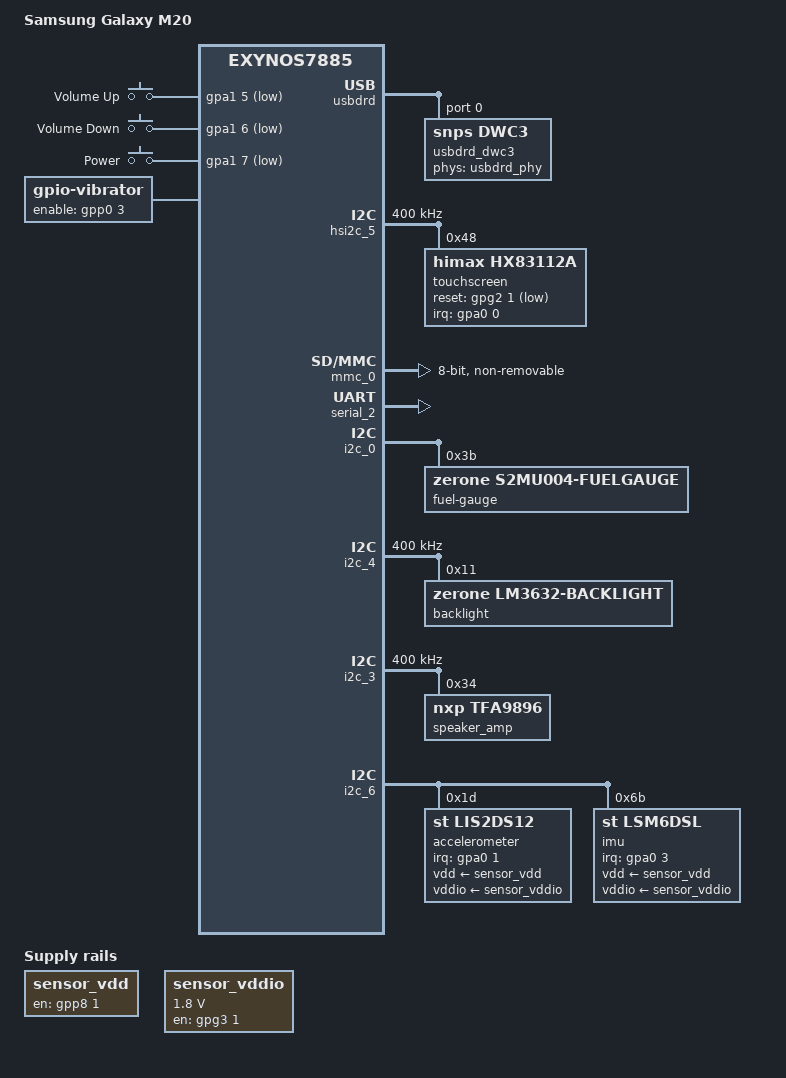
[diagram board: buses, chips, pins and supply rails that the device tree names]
// SPDX-License-Identifier: GPL-2.0
/*
 * Samsung Galaxy M20 (m20lte, SM-M205F/G/FN) device tree, for ztOS.
 *
 * The Exynos 7904 is the Exynos 7885 die (two A73 + six A53, Mali-G71 MP2),
 * so this builds on mainline's exynos7885.dtsi, the same base as the Galaxy
 * A8 2018 (exynos7885-jackpotlte.dts). Every address, pin and interrupt that
 * is not in mainline was taken from Samsung's own M20 kernel
 * (exynos7904-m20lte_common.dtsi, exynos7885.dtsi, display-lcd_m20_common.dtsi
 * in LineageOS/android_kernel_samsung_universal7904); each node says where.
 *
 * NOTHING HERE HAS RUN ON A PHONE YET. devices/m20lte/README.md lists what to
 * check first and in which order.
 *
 * Generated variants (memory size, fallback target) are made from this file
 * by devices/m20lte/kernel/make-dts.py; edit this file, not the output.
 */

/dts-v1/;
#include "exynos7885.dtsi"
#include <dt-bindings/gpio/gpio.h>
#include <dt-bindings/input/input.h>
#include <dt-bindings/interrupt-controller/irq.h>
#include <dt-bindings/soc/samsung,exynos-usi.h>
#include <dt-bindings/thermal/thermal.h>

/ {
	model = "Samsung Galaxy M20";
	compatible = "samsung,m20lte", "samsung,exynos7885";
	chassis-type = "handset";

	aliases {
		mmc0 = &mmc_0;
		serial2 = &serial_2;
	};

	/*
	 * The GPU's levels and voltages, this chip's own: the ECT in sboot
	 * (mmcblk0boot0 at 0x44400), ASV table 2 (the fused version, 20, has
	 * no table of its own: MINMAX_dvfs_g3d's row for it names table 2 and
	 * 343-845 MHz), GPU group 9 (the ASV fuses, read through EL3). The
	 * bootloader's 600 mV at 343 MHz is exactly this table's first level.
	 */
	gpu_opp_table: opp-table-gpu {
		compatible = "operating-points-v2";

		opp-343000000 {
			opp-hz = /bits/ 64 <343000000>;
			opp-microvolt = <600000>;
		};
		opp-450000000 {
			opp-hz = /bits/ 64 <450000000>;
			opp-microvolt = <612500>;
		};
		opp-545000000 {
			opp-hz = /bits/ 64 <545000000>;
			opp-microvolt = <650000>;
		};
		opp-676000000 {
			opp-hz = /bits/ 64 <676000000>;
			opp-microvolt = <681250>;
		};
		opp-845000000 {
			opp-hz = /bits/ 64 <845000000>;
			opp-microvolt = <762500>;
		};
	};

	chosen {
		#address-cells = <2>;
		#size-cells = <1>;
		ranges;

		/*
		 * The bootloader's framebuffer: sboot leaves the panel on and
		 * scanning this out, and uniLoader (board-m20lte.c) switches
		 * DECON to software trigger so writes reach the glass. simpledrm
		 * takes it over as /dev/dri/card0. 1080 x 2340, 4 bytes a pixel.
		 */
		framebuffer@ec000000 {
			compatible = "simple-framebuffer";
			reg = <0x0 0xec000000 0x9a3f80>;
			width = <1080>;
			height = <2340>;
			stride = <(1080 * 4)>;
			/* x, not a: the shell's frames are XRGB8888, and a matching
			 * format makes simpledrm's copy a plain memcpy; converting
			 * every pixel to ARGB8888 made it slower than the scanout */
			format = "x8r8g8b8";
			/* The line the panel is scanning: DSIM LINK0 (0x14870008)
			 * bits 12:0, 0..2339 at 60 Hz, 7.12 us a line. simpledrm
			 * copies each frame in just ahead of it (patch-kernel.py),
			 * which keeps the GPU's frames from tearing. */
			zerone,scanout-line = <0x14870008 0x1fff 2340 7120>;
		};
	};

	/* ZTOS-MEMORY: rewritten by make-dts.py --ram 3|4 */
	memory@80000000 {
		device_type = "memory";
		reg = <0x0 0x80000000 0x3da00000>,
		      <0x0 0xc0000000 0x40000000>,
		      <0x8 0x80000000 0x40000000>;
	};

	reserved-memory {
		#address-cells = <2>;
		#size-cells = <1>;
		ranges;

		/*
		 * Everything below is the stock device tree's own reserved
		 * memory, read out of the DTBH section of the M20's stock BOOT
		 * image (M205FDDU8CUI1). Nothing of ours runs in these, but
		 * the secure world (TIMA, sec_debug) and the firmware of the
		 * modem, GNSS, Wi-Fi and audio DSP were given them by sboot,
		 * so the kernel must not hand them out.
		 */
		framebuffer@ec000000 {
			reg = <0x0 0xec000000 0x1400000>;
			no-map;
		};

		sec_debug_magic@80000000 {
			reg = <0x0 0x80000000 0x1000>;
			no-map;
		};

		dram_test@80002000 {
			reg = <0x0 0x80002000 0x2000>;
			no-map;
		};

		tima_region@b8000000 {
			reg = <0x0 0xb8000000 0x200000>;
			no-map;
		};

		seclog_mem@c0000000 {
			reg = <0x0 0xc0000000 0x80000>;
			no-map;
		};

		wlbt_mem: wifibt_if@e9000000 {
			reg = <0x0 0xe9000000 0x400000>;
			no-map;
		};

		abox_rmem@e9400000 {
			reg = <0x0 0xe9400000 0x400000>;
			no-map;
		};

		modem_if@f5400000 {
			reg = <0x0 0xf5400000 0x8800000>;
			no-map;
		};

		cp_ram_logging@fdc00000 {
			reg = <0x0 0xfdc00000 0x2000000>;
			no-map;
		};

		gnss_if@ffc00000 {
			reg = <0x0 0xffc00000 0x400000>;
			no-map;
		};

		/*
		 * The kernel log of a crash, kept across the reset (pstore).
		 * In the gap between the audio DSP's region and the
		 * framebuffer, which the stock tree leaves unreserved.
		 */
		ramoops@eb800000 {
			compatible = "ramoops";
			reg = <0x0 0xeb800000 0x200000>;
			record-size = <0x40000>;
			console-size = <0x80000>;
			pmsg-size = <0x0>;
			ecc-size = <0>;
		};

		/*
		 * ABOX's firmware DRAM (12 MiB, which it sees at 0x80000000
		 * through its System MMU) and the PCM rings (playback, then
		 * capture). Placed by the kernel: the firmware never sees a
		 * physical address.
		 */
		abox_dram: abox-dram {
			size = <0xc00000>;
			alignment = <0x0 0x100000>;
			no-map;
		};

		abox_pcm: abox-pcm {
			size = <0x20000>;
			alignment = <0x0 0x10000>;
			no-map;
		};
	};

	gpio-keys {
		compatible = "gpio-keys";
		pinctrl-names = "default";
		pinctrl-0 = <&key_volup &key_voldown &key_power>;

		volup-key {
			label = "Volume Up";
			linux,code = <KEY_VOLUMEUP>;
			gpios = <&gpa1 5 GPIO_ACTIVE_LOW>;
		};

		voldown-key {
			label = "Volume Down";
			linux,code = <KEY_VOLUMEDOWN>;
			gpios = <&gpa1 6 GPIO_ACTIVE_LOW>;
		};

		power-key {
			label = "Power";
			linux,code = <KEY_POWER>;
			gpios = <&gpa1 7 GPIO_ACTIVE_LOW>;
			wakeup-source;
		};
	};

	/*
	 * The vibration motor: an LDO switched by GPP0[3]
	 * (exynos7904-m20lte_motor.dtsi: sec_vib,ldo_en). gpio-vibrator gives
	 * ztMETRO the FF_RUMBLE input device it already drives.
	 */
	vibrator {
		compatible = "gpio-vibrator";
		enable-gpios = <&gpp0 3 GPIO_ACTIVE_HIGH>;
		pinctrl-names = "default";
		pinctrl-0 = <&motor_en>;
	};

	/*
	 * USI0 is two high-speed I2C channels (USI_MODE "hsi2c0_hsi2c1" in the
	 * M20 kernel); the mode lives in SYSREG_PERI at 0x10032000 (usi.c).
	 */
	/*
	 * The motion sensors' supplies, load switches Samsung's kernel turns on
	 * at boot (exynos7904-m20lte_swa_open_gpio_02.dtsi: SENSOR_LDO_EN on
	 * GPP8[1], SENSOR_LDO_1P8_EN on GPG3[1]); the sensor drivers switch
	 * them now.
	 */
	sensor_vdd: regulator-sensor-vdd {
		compatible = "regulator-fixed";
		regulator-name = "sensor_vdd";
		gpio = <&gpp8 1 GPIO_ACTIVE_HIGH>;
		enable-active-high;
		startup-delay-us = <10000>;
	};

	sensor_vddio: regulator-sensor-vddio {
		compatible = "regulator-fixed";
		regulator-name = "sensor_vddio";
		regulator-min-microvolt = <1800000>;
		regulator-max-microvolt = <1800000>;
		gpio = <&gpg3 1 GPIO_ACTIVE_HIGH>;
		enable-active-high;
		startup-delay-us = <10000>;
	};

	sysreg_usi: syscon@10032000 {
		compatible = "syscon";
		reg = <0x0 0x10032000 0x10>;
	};

	/*
	 * ACPM, the APM firmware's message queues: acpm_ipc in the M20 kernel's
	 * exynos7885.dtsi (SRAM 0x02052000, 0x1b000 bytes, channel descriptors
	 * at 0x4b80; doorbell mailbox 0x11c40000). It is how the S2MPU08 PMIC is
	 * reached. The SRAM has no compatible, so nothing claims it at boot: it
	 * only tells ACPM where the queues are. Nothing here loads on its own:
	 * acpm-protocol.ko, zrn-acpm-mbox.ko and zrn-s2mpu08-g3d.ko have no
	 * module aliases for these nodes yet.
	 */
	apm_sram: sram@2052000 {
		reg = <0x0 0x02052000 0x1b000>;
	};

	/*
	 * Samsung's G3D zone throttles from 76 C (exynos7885.dtsi: G3D's
	 * trips), its devfreq step by step here; 115 C is critical, as in the
	 * Galaxy Tab A 10.1 2019 port. The CPU zone does the same from 76 C,
	 * Samsung's first BIG/LITTLE_THERMAL step: zrn-cpufreq's two domains
	 * lower their highest level step by step while it stays hot. That alone
	 * let all eight cores at full load creep up to 90 C, so from Samsung's
	 * 86 and 96 C steps the domains are held at least three levels down
	 * (A53 1248, A73 1352 MHz) and then five (1014 and 936 MHz).
	 */
	thermal-zones {
		cpu-thermal {
			polling-delay-passive = <250>;
			polling-delay = <1000>;
			thermal-sensors = <&tmu_cpu>;

			trips {
				cpu_alert0: cpu-alert0 {
					temperature = <76000>;
					hysteresis = <2000>;
					type = "passive";
				};

				cpu_alert1: cpu-alert1 {
					temperature = <86000>;
					hysteresis = <2000>;
					type = "passive";
				};

				cpu_alert2: cpu-alert2 {
					temperature = <96000>;
					hysteresis = <2000>;
					type = "passive";
				};

				cpu-crit {
					temperature = <115000>;
					hysteresis = <0>;
					type = "critical";
				};
			};

			cooling-maps {
				map0 {
					trip = <&cpu_alert0>;
					cooling-device = <&cpu0 THERMAL_NO_LIMIT THERMAL_NO_LIMIT>,
							 <&cpu6 THERMAL_NO_LIMIT THERMAL_NO_LIMIT>;
				};

				map1 {
					trip = <&cpu_alert1>;
					cooling-device = <&cpu0 3 THERMAL_NO_LIMIT>,
							 <&cpu6 3 THERMAL_NO_LIMIT>;
				};

				map2 {
					trip = <&cpu_alert2>;
					cooling-device = <&cpu0 5 THERMAL_NO_LIMIT>,
							 <&cpu6 5 THERMAL_NO_LIMIT>;
				};
			};
		};

		gpu-thermal {
			polling-delay-passive = <250>;
			polling-delay = <1000>;
			thermal-sensors = <&tmu_g3d>;

			trips {
				gpu_alert0: gpu-alert0 {
					temperature = <76000>;
					hysteresis = <2000>;
					type = "passive";
				};

				gpu-crit {
					temperature = <115000>;
					hysteresis = <0>;
					type = "critical";
				};
			};

			cooling-maps {
				map0 {
					trip = <&gpu_alert0>;
					cooling-device = <&gpu THERMAL_NO_LIMIT THERMAL_NO_LIMIT>;
				};
			};
		};
	};

	firmware {
		acpm_ipc: power-management {
			compatible = "samsung,exynos7885-acpm-ipc";
			mboxes = <&ap2apm_mailbox>;
			shmem = <&apm_sram>;
		};
	};

	/*
	 * The Mali-G71's supply, the S2MPU08's BUCK5, over ACPM channel 2
	 * (devices/m20lte/drivers/zrn-s2mpu08-g3d.c), within gpu_opp_table's
	 * range only.
	 */
	vdd_g3d: regulator-vdd-g3d {
		compatible = "samsung,s2mpu08-acpm-buck5";
		samsung,acpm-ipc = <&acpm_ipc 2>;
		regulator-name = "vdd_g3d";
		regulator-min-microvolt = <600000>;
		regulator-max-microvolt = <762500>;
	};

	/*
	 * CPU frequency scaling (devices/m20lte/drivers/zrn-cpufreq.c): the
	 * cluster CMUs whose PLLs it sets, A53s first (CMU_CPUCL1 for CPUs 0-3,
	 * CMU_CPUCL2 for 4-5), then the A73s' CMU_CPUCL0; their supplies
	 * (BUCK3, BUCK2) over ACPM channel 2.
	 */
	cpufreq@10800000 {
		compatible = "zrn,m20-cpufreq";
		reg = <0x0 0x10800000 0x2000>,
		      <0x0 0x10a00000 0x2000>,
		      <0x0 0x10900000 0x2000>;
		samsung,acpm-ipc = <&acpm_ipc 2>;
	};

	/*
	 * The speaker: ABOX's UAIF3 to the TFA9896, DSP_A frames with ABOX
	 * driving the clocks (devices/m20lte/drivers/abox/zrn-m20-card.c).
	 * Earpiece, headphones and microphones are the COD3035X's, not here yet.
	 */
	sound {
		compatible = "zerone,m20lte-audio";
		model = "Galaxy M20";
		audio-routing = "Speaker", "Speaker OUT";

		cpu {
			sound-dai = <&abox_audio 0>;
		};

		codecs {
			sound-dai = <&speaker_amp>;
		};
	};
};

&soc {
	/* USB: DWC3 at 0x13600000, its PHY at 0x135d0000 (exynos7885.dtsi in
	 * the M20 kernel). The PHY's registers are the "usb3p1" layout that
	 * mainline drives as the Exynos 850's; only the PMU isolation offset
	 * differs (0x674), so it has its own compatible, added by
	 * devices/m20lte/kernel/patch-kernel.py. */
	usbdrd: usb@13600000 {
		compatible = "samsung,exynos850-dwusb3";
		ranges = <0x0 0x13600000 0x10000>;
		clocks = <&cmu_fsys CLK_FSYS_USB30DRD_BUS_CLK_EARLY>,
			 <&cmu_fsys CLK_FSYS_USB30DRD_REF_CLK>;
		clock-names = "bus_early", "ref";
		#address-cells = <1>;
		#size-cells = <1>;

		usbdrd_dwc3: usb@0 {
			compatible = "snps,dwc3";
			reg = <0x0 0x10000>;
			interrupts = <GIC_SPI 135 IRQ_TYPE_LEVEL_HIGH>;
			phys = <&usbdrd_phy 0>;
			phy-names = "usb2-phy";
			/* the rescue shell and the install are a USB gadget;
			 * the S2MU004 that would say host or device has no
			 * mainline driver */
			dr_mode = "peripheral";
			maximum-speed = "high-speed";
			snps,quirk-frame-length-adjustment = <0x20>;
			/*
			 * As Samsung's kernel runs it (its GUSB2PHYCFG reads
			 * 0x40102400 and GUSB3PIPECTL 0x110c0002 with adb
			 * working): the PHYs are never suspended by the
			 * controller, and no receiver detection in P3. With
			 * mainline's defaults the host could not read the
			 * phone's descriptors.
			 */
			snps,dis_u2_susphy_quirk;
			snps,dis_enblslpm_quirk;
			snps,dis_u3_susphy_quirk;
			snps,dis_rxdet_inp3_quirk;
		};
	};

	usbdrd_phy: phy@135d0000 {
		compatible = "samsung,exynos7885-usbdrd-phy";
		reg = <0x135d0000 0x100>;
		/* "ref" is the 50 MHz USB PLL: phy_refsel_clockcore in the M20
		 * kernel. phy30_0/1 gate the PHY controller's registers: without
		 * them every register reads 0 (the first boots). */
		clocks = <&cmu_fsys CLK_FSYS_USB30DRD_ACLK_20PHYCTRL>,
			 <&cmu_fsys CLK_FSYS_USB30DRD_ACLK_30PHYCTRL_0>,
			 <&cmu_fsys CLK_FSYS_USB30DRD_ACLK_30PHYCTRL_1>,
			 <&cmu_fsys CLK_FSYS_USB20PHY_CLKCORE>;
		clock-names = "phy", "phy30_0", "phy30_1", "ref";
		/*
		 * The USB 2.0 PHY has no frequency select of its own: it expects
		 * 50 MHz from PLL_USB (Samsung's kernel: "CLKCORE <- PLL_USB,
		 * 50000000"). Left alone, PLL_USB stays off and its mux passes the
		 * 26 MHz oscillator through, the PHY's 480 MHz runs at half speed
		 * and the host can't read a single descriptor (seen on the phone:
		 * PLL_CON0_PLL_USB = 0).
		 */
		assigned-clocks = <&cmu_fsys CLK_FOUT_USB_PLL>,
				  <&cmu_fsys CLK_MOUT_USB_PLL>;
		assigned-clock-parents = <0>, <&cmu_fsys CLK_FOUT_USB_PLL>;
		assigned-clock-rates = <50000000>, <0>;
		samsung,pmu-syscon = <&pmu_system_controller>;
		#phy-cells = <1>;
	};

	usi0: usi@13920000 {
		compatible = "samsung,exynos8895-usi";
		ranges = <0x0 0x13920000 0x20000>;
		clocks = <&cmu_peri CLK_GOUT_USI0_PCLK>,
			 <&cmu_peri CLK_GOUT_USI0_SCLK>;
		clock-names = "pclk", "ipclk";
		#address-cells = <1>;
		#size-cells = <1>;
		samsung,sysreg = <&sysreg_usi 0x0>;
		samsung,mode = <USI_MODE_I2C0_1>;

		/* hsi2c_5 in the M20 kernel: the touch controller */
		hsi2c_5: i2c@10000 {
			compatible = "samsung,exynos7-hsi2c";
			reg = <0x10000 0x1000>;
			interrupts = <GIC_SPI 268 IRQ_TYPE_LEVEL_HIGH>;
			/* the I2C timing comes from this clock's rate: USI0's own
			 * (its bus clock is held on by the USI node) */
			clocks = <&cmu_peri CLK_GOUT_USI0_SCLK>;
			clock-names = "hsi2c";
			clock-frequency = <400000>;
			pinctrl-names = "default";
			pinctrl-0 = <&hs_i2c5_bus>;
			#address-cells = <1>;
			#size-cells = <0>;

			/*
			 * Himax HX83112A, in-cell with the panel
			 * (himax,fw-path "hx83112a_m20lte.fw"). Mainline's
			 * himax_hx83112b driver, taught the A's product id by
			 * patch-kernel.py. ZTOS-TOUCH: make-dts.py --no-touch
			 * turns it off.
			 */
			touchscreen@48 {
				compatible = "himax,hx83112a";
				reg = <0x48>;
				interrupt-parent = <&gpa0>;
				interrupts = <0 IRQ_TYPE_LEVEL_LOW>;
				/* TSP_RST: the driver clears the firmware's stop
				 * request, pulses this, then writes the HSEN flag
				 * that starts scanning (patch-kernel.py) */
				reset-gpios = <&gpg2 1 GPIO_ACTIVE_LOW>;
				touchscreen-size-x = <1080>;
				touchscreen-size-y = <2340>;
				pinctrl-names = "default";
				pinctrl-0 = <&touch_irq>;
			};
		};
	};

	/* The GPU's clocks (CMU_G3D, patch-kernel.py): PLL_G3D through the
	 * BUSD mux, which a notifier parks on the switching path while the PLL
	 * relocks. */
	cmu_g3d: clock-controller@11400000 {
		compatible = "samsung,exynos7885-cmu-g3d";
		reg = <0x11400000 0x8000>;
		#clock-cells = <1>;
		clocks = <&oscclk>, <&cmu_top CLK_DOUT_G3D_SWITCH>;
		clock-names = "oscclk", "dout_g3d_switch";
	};

	/* Mali-G71 MP2 (GPU_ID 0x60a00002, r0p0): mali@11500000 in the M20
	 * kernel's exynos7885-mali_common.dtsi, with its JOB, MMU and GPU
	 * interrupts. Its power domain (PMU 0x11c840a0) is on from the
	 * bootloader and not described. Panfrost's devfreq scales it over
	 * gpu_opp_table, 343-845 MHz, its supply with it. The supply comes
	 * with the ACPM modules (modules-load.d/m20-gpu.conf), so Panfrost
	 * waits for them. */
	gpu: gpu@11500000 {
		compatible = "arm,mali-bifrost";
		reg = <0x11500000 0x5000>;
		interrupts = <GIC_SPI 159 IRQ_TYPE_LEVEL_HIGH>,
			     <GIC_SPI 160 IRQ_TYPE_LEVEL_HIGH>,
			     <GIC_SPI 158 IRQ_TYPE_LEVEL_HIGH>;
		interrupt-names = "job", "mmu", "gpu";
		clocks = <&cmu_g3d CLK_MOUT_G3D_BUSD>;
		mali-supply = <&vdd_g3d>;
		operating-points-v2 = <&gpu_opp_table>;
		/* gpu-thermal throttles it through its devfreq */
		#cooling-cells = <2>;
	};

	/* The Wi-Fi/BT subsystem (Samsung SCSC "Maxwell", S612): scsc_wifibt in
	 * the M20 kernel's exynos7885.dtsi, with its R4 and M4 mailboxes and the
	 * MBOX (SPI 57) and WDOG (SPI 286) interrupts; it boots from wlbt_mem.
	 * devices/m20lte/drivers/zrn-wlbt.c only boots the firmware, on request. */
	wlbt: wlbt@120c0000 {
		compatible = "zerone,m20-wlbt";
		reg = <0x120c0000 0x180>,
		      <0x120e0000 0x180>;
		interrupts = <GIC_SPI 57 IRQ_TYPE_LEVEL_HIGH>,
			     <GIC_SPI 286 IRQ_TYPE_LEVEL_HIGH>;
		interrupt-names = "mbox", "wdog";
		samsung,syscon-phandle = <&pmu_system_controller>;
		memory-region = <&wlbt_mem>;
	};

	/* The temperature sensors, BIG@10070000 (the CPU clusters, SPI 231)
	 * and G3D@10074000 (SPI 280) in the M20 kernel's exynos7885.dtsi:
	 * exynos_tmu's Exynos 7885 variant (kernel/patches/), clocked by
	 * CMU_PERI's TMU APB gate. */
	tmu_cpu: thermal-sensor@10070000 {
		compatible = "samsung,exynos7885-tmu";
		reg = <0x10070000 0x400>;
		interrupts = <GIC_SPI 231 IRQ_TYPE_LEVEL_HIGH>;
		clocks = <&cmu_peri CLK_GOUT_TMU_PCLK>;
		clock-names = "tmu_apbif";
		#thermal-sensor-cells = <0>;
	};

	tmu_g3d: thermal-sensor@10074000 {
		compatible = "samsung,exynos7885-tmu";
		reg = <0x10074000 0x400>;
		interrupts = <GIC_SPI 280 IRQ_TYPE_LEVEL_HIGH>;
		clocks = <&cmu_peri CLK_GOUT_TMU_PCLK>;
		clock-names = "tmu_apbif";
		#thermal-sensor-cells = <0>;
	};

	/* The AP-to-APM doorbell ACPM rings (drivers/zrn-acpm-mbox.c) */
	ap2apm_mailbox: mailbox@11c40000 {
		compatible = "samsung,exynos7885-acpm-mbox";
		reg = <0x11c40000 0x1000>;
		#mbox-cells = <0>;
	};

	/*
	 * Sound: ABOX, the audio DSP block (a Cortex-A7 running Samsung's
	 * "calliope" firmware), its System MMU, and the DISPAUD clocks and
	 * power domain it shares with the display. Nodes as in the Galaxy Tab A
	 * 10.1 2019 port (exynos7885.dtsi, branch gta3xl), addresses and
	 * interrupts checked against the M20 kernel's exynos7885.dtsi.
	 *
	 * DISPAUD is on from the bootloader (the display runs in it); the
	 * domain driver only ever reports it on, never powers it down.
	 * CMU_DISPAUD registers only with exynos7885.dispaud=1 on the command
	 * line: until then the System MMU, ABOX and the card wait for its
	 * clocks, and nothing of this touches the hardware.
	 */
	pd_dispaud: power-domain@11c84020 {
		compatible = "samsung,exynos7885-dispaud-pd";
		reg = <0x11c84020 0x20>;
		#power-domain-cells = <0>;
	};

	cmu_dispaud: clock-controller@14800000 {
		compatible = "samsung,exynos7885-cmu-dispaud";
		reg = <0x14800000 0x8000>;
		#clock-cells = <1>;
		clocks = <&oscclk>, <&cmu_top CLK_DOUT_DISPAUD_CPU>;
		clock-names = "oscclk", "dout_dispaud_cpu";
		power-domains = <&pd_dispaud>;
	};

	sysmmu_abox: iommu@14a30000 {
		compatible = "samsung,exynos7885-abox-sysmmu",
			     "samsung,exynos-sysmmu";
		reg = <0x14a30000 0x9000>;
		interrupts = <GIC_SPI 129 IRQ_TYPE_LEVEL_HIGH>;
		/* Its registers are only reachable with the ABOX bus clock. */
		clocks = <&cmu_dispaud CLK_GOUT_SMMU_ABOX_CLK>,
			 <&cmu_dispaud CLK_GOUT_ABOX_ACLK>;
		clock-names = "sysmmu", "master";
		power-domains = <&pd_dispaud>;
		#iommu-cells = <0>;
	};

	/*
	 * devices/m20lte/drivers/abox/: the firmware is loaded and started
	 * when a stream opens, and only with the rproc module's enable=1 and
	 * allow_firmware_start=1. The firmware's options as the M20's own
	 * tree passes them (samsung,abox-bootargs, at SRAM 0x22e00), with
	 * vss=0: the modem's voice buffer is not mapped for it here.
	 */
	abox: audio-controller@14a50000 {
		compatible = "samsung,exynos7885-abox";
		reg = <0x14a50000 0x10000>,
		      <0x14820000 0x10000>,
		      <0x14b00000 0x28000>,
		      <0x14af1000 0x1000>,
		      <0x14af2000 0x1004>;
		reg-names = "sfr", "sysreg", "sram", "gicd", "gicc";
		interrupts = <GIC_SPI 119 IRQ_TYPE_LEVEL_HIGH>;
		interrupt-names = "abox";
		clocks = <&cmu_dispaud CLK_FOUT_AUD_PLL>,
			 <&cmu_dispaud CLK_GOUT_ABOX_CA7>,
			 <&cmu_dispaud CLK_DOUT_AUDIF>,
			 <&cmu_dispaud CLK_DOUT_UAIF3>,
			 <&cmu_dispaud CLK_MOUT_AUD_UAIF3>,
			 <&cmu_dispaud CLK_GOUT_ABOX_ACLK>,
			 <&cmu_dispaud CLK_GOUT_UAIF3_BCLK>,
			 <&cmu_dispaud CLK_GOUT_UAIF3_SYNC>;
		clock-names = "pll", "ca7", "audif", "uaif3-div",
			      "uaif3-mux", "aclk",
			      "uaif3-bclk", "uaif3-sync";
		power-domains = <&pd_dispaud>;
		iommus = <&sysmmu_abox>;
		memory-region = <&abox_dram>, <&abox_pcm>;
		/* UAIF3, to the speaker amplifier (aud_spk_bus in the M20 tree) */
		pinctrl-names = "active", "idle";
		pinctrl-0 = <&aud_spk_bus>;
		pinctrl-1 = <&aud_spk_bus_idle>;
		samsung,bootargs = "init=ab0x vss=0";
		samsung,bootargs-offset = <0x22e00>;

		abox_audio: abox-audio {
			compatible = "samsung,exynos7885-abox-audio";
			#sound-dai-cells = <1>;
		};
	};

	/* ZTOS-WATCHDOG: WDT at 0x10060000, A53 cluster: PMU 0x408/0x40c
	 * bit 24 (drv_data_exynos8 in the M20 kernel's s3c2410_wdt.c).
	 * Off unless make-dts.py --watchdog. */
	watchdog: watchdog@10060000 {
		compatible = "samsung,exynos7885-wdt";
		reg = <0x10060000 0x100>;
		interrupts = <GIC_SPI 233 IRQ_TYPE_LEVEL_HIGH>;
		clocks = <&cmu_peri CLK_GOUT_WDT1_PCLK>, <&oscclk>;
		clock-names = "watchdog", "watchdog_src";
		samsung,syscon-phandle = <&pmu_system_controller>;
		status = "disabled";
	};
};

&usbdrd {
	status = "okay";
};

&pmu_system_controller {
	/*
	 * Samsung's boot-mode magic, as on the S9: INFORM3 (PMU + 0x80c) tells
	 * sboot where to go after a reset (sec_reboot.c in the M20 kernel).
	 * exynos-pmu populates its children, so `reboot recovery` lands in TWRP.
	 */
	reboot-mode {
		compatible = "syscon-reboot-mode";
		offset = <0x80c>;
		mode-normal = <0x12345670>;
		mode-download = <0x12345671>;
		mode-recovery = <0x12345674>;
		mode-bootloader = <0x1234567d>;
	};
};

&mmc_0 {
	/* the eMMC: same settings as the A8 2018 (same SoC, same controller) */
	mmc-hs200-1_8v;
	mmc-hs400-1_8v;
	cap-mmc-highspeed;
	non-removable;
	mmc-hs400-enhanced-strobe;
	card-detect-delay = <200>;
	clock-frequency = <800000000>;
	bus-width = <8>;
	samsung,dw-mshc-ciu-div = <3>;
	samsung,dw-mshc-sdr-timing = <0 4>;
	samsung,dw-mshc-ddr-timing = <2 4>;
	samsung,dw-mshc-hs400-timing = <0 2>;

	pinctrl-names = "default";
	pinctrl-0 = <&sd0_clk_fast_slew_rate_3x &sd0_cmd &sd0_rdqs
		     &sd0_bus1 &sd0_bus4 &sd0_bus8>;

	status = "okay";
};

&oscclk {
	clock-frequency = <26000000>;
};

&serial_2 {
	/* the debug UART (through the earphone jack with a Samsung UART
	 * cable); console=ttySAC2,115200 on the command line uses it */
	status = "okay";
};

/* i2c_0: the S2MU004 fuel gauge (battery_data_m20lte_common.dtsi) */
&i2c_0 {
	status = "okay";

	/* devices/m20lte/drivers/zrn-s2mu004-fg.c: read-only, no charger */
	fuel-gauge@3b {
		compatible = "zerone,s2mu004-fuelgauge";
		reg = <0x3b>;
	};
};

/* i2c_4: the TI LM3632 backlight and display bias
 * (display-lcd_m20_common.dtsi) */
&i2c_4 {
	status = "okay";
	clock-frequency = <400000>;

	/* devices/m20lte/drivers/zrn-lm3632-bl.c: the brightness code only,
	 * never the bias rails the panel runs on */
	backlight@11 {
		compatible = "zerone,lm3632-backlight";
		reg = <0x11>;
	};
};

/* i2c_3: the NXP TFA9896 speaker amplifier at 0x34 (revision 0x1b96), fed by
 * ABOX's UAIF3 (tfa98xx in exynos7904-m20lte_common.dtsi), its DSP bypassed
 * (devices/m20lte/drivers/abox/zrn-tfa9896.c). */
&i2c_3 {
	status = "okay";
	clock-frequency = <400000>;

	speaker_amp: audio-codec@34 {
		compatible = "nxp,tfa9896";
		reg = <0x34>;
		#sound-dai-cells = <0>;
		sound-name-prefix = "Speaker";
	};
};

/*
 * How fast each core is for its clock, so the scheduler puts the busy threads
 * (a browser's main thread, ztMETRO) on the two Cortex-A73s rather than on any
 * of the six Cortex-A53s: without these every core counts 1024 alike. The
 * values are mainline's for the same pair of cores (hi3660.dtsi). Each core
 * can be a cooling device: cpu-thermal throttles its cpufreq domain.
 */
&cpu0 { capacity-dmips-mhz = <592>; #cooling-cells = <2>; };
&cpu1 { capacity-dmips-mhz = <592>; #cooling-cells = <2>; };
&cpu2 { capacity-dmips-mhz = <592>; #cooling-cells = <2>; };
&cpu3 { capacity-dmips-mhz = <592>; #cooling-cells = <2>; };
&cpu4 { capacity-dmips-mhz = <592>; #cooling-cells = <2>; };
&cpu5 { capacity-dmips-mhz = <592>; #cooling-cells = <2>; };
&cpu6 { capacity-dmips-mhz = <1024>; #cooling-cells = <2>; };
&cpu7 { capacity-dmips-mhz = <1024>; #cooling-cells = <2>; };

/* i2c_6: the motion sensors (exynos7904-m20lte-sensor-r03.dtsi). The
 * board has an LSM6DSL or a LIS2DS(12) depending on the batch (this one has
 * the LSM6DSL); each driver reads its WHO_AM_I and leaves a missing chip
 * alone. The bus as Samsung runs it: 400 kHz, SDA delay 100. The sensors are
 * unpowered until sensor_vdd and sensor_vddio are on, and hold the bus low
 * meanwhile. The mount matrix is Samsung's st,orientation (each entry minus
 * one): x = -y, y = x, z = z. */
&i2c_6 {
	status = "okay";
	samsung,i2c-sda-delay = <100>;
	samsung,i2c-max-bus-freq = <400000>;

	accelerometer@1d {
		compatible = "st,lis2ds12";
		reg = <0x1d>;
		interrupt-parent = <&gpa0>;
		interrupts = <1 IRQ_TYPE_LEVEL_HIGH>;
		vdd-supply = <&sensor_vdd>;
		vddio-supply = <&sensor_vddio>;
		mount-matrix = "1", "0", "0", "0", "1", "0", "0", "0", "1";
	};

	imu@6b {
		compatible = "st,lsm6dsl";
		reg = <0x6b>;
		interrupt-parent = <&gpa0>;
		interrupts = <3 IRQ_TYPE_LEVEL_HIGH>;
		vdd-supply = <&sensor_vdd>;
		vddio-supply = <&sensor_vddio>;
		mount-matrix = "0", "-1", "0",
			       "1", "0", "0",
			       "0", "0", "1";
	};
};

&pinctrl_alive {
	key_volup: key-volup-pins {
		samsung,pins = "gpa1-5";
		samsung,pin-function = <EXYNOS_PIN_FUNC_F>;
		samsung,pin-pud = <EXYNOS_PIN_PULL_NONE>;
		samsung,pin-drv = <EXYNOS5420_PIN_DRV_LV1>;
	};

	key_voldown: key-voldown-pins {
		samsung,pins = "gpa1-6";
		samsung,pin-function = <EXYNOS_PIN_FUNC_F>;
		samsung,pin-pud = <EXYNOS_PIN_PULL_NONE>;
		samsung,pin-drv = <EXYNOS5420_PIN_DRV_LV1>;
	};

	key_power: key-power-pins {
		samsung,pins = "gpa1-7";
		samsung,pin-function = <EXYNOS_PIN_FUNC_F>;
		samsung,pin-pud = <EXYNOS_PIN_PULL_NONE>;
		samsung,pin-drv = <EXYNOS5420_PIN_DRV_LV1>;
	};

	/* the touch controller's attention line (himax,irq-gpio) */
	touch_irq: touch-irq-pins {
		samsung,pins = "gpa0-0";
		samsung,pin-function = <EXYNOS_PIN_FUNC_EINT>;
		samsung,pin-pud = <EXYNOS_PIN_PULL_NONE>;
		samsung,pin-drv = <EXYNOS5420_PIN_DRV_LV1>;
	};
};

&pinctrl_top {
	motor_en: motor-en-pins {
		samsung,pins = "gpp0-3";
		samsung,pin-function = <EXYNOS_PIN_FUNC_OUTPUT>;
		samsung,pin-pud = <EXYNOS_PIN_PULL_NONE>;
		samsung,pin-drv = <EXYNOS5420_PIN_DRV_LV1>;
	};
};
